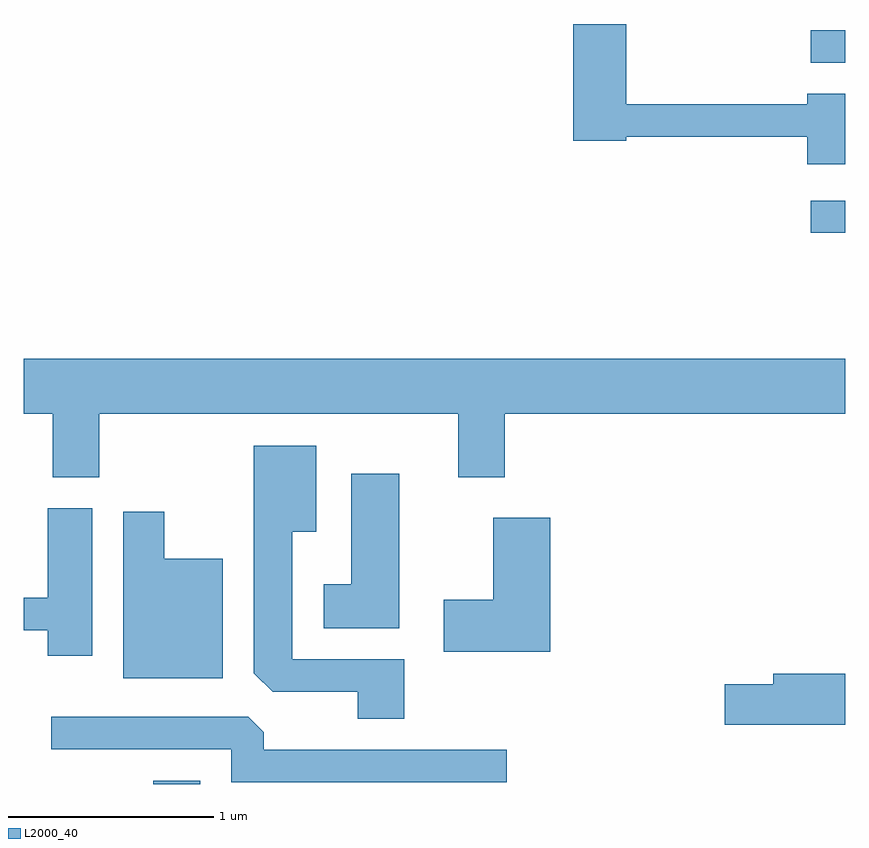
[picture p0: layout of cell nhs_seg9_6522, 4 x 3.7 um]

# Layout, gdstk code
import gdstk
lib = gdstk.Library(unit=1e-6, precision=1e-09)
def R(c, l, rs):  # rectangles x0, y0, x1, y1
    for r in rs: c.add(gdstk.rectangle(r[:2], r[2:], *l))
def P(c, l, *ps):  # polygons
    for p in ps: c.add(gdstk.Polygon(p, *l))
L2000_40 = (2000, 40)

nhs_seg9_6522 = lib.new_cell('nhs_seg9_6522')
R(nhs_seg9_6522, L2000_40, [(378.241,2014.432,378.469,2014.449), (381.443,2017.116,381.611,2017.274), (381.443,2017.946,381.611,2018.104)])
P(nhs_seg9_6522, L2000_40, [(381.611,2017.794),(381.426,2017.794),(381.426,2017.744),(380.544,2017.744),(380.544,2018.134),(380.286,2018.134),(380.286,2017.566),(380.544,2017.566),(380.544,2017.586),(381.426,2017.586),(381.426,2017.451),(381.611,2017.451)],
  [(377.611,2016.236),(377.751,2016.236),(377.751,2015.926),(377.979,2015.926),(377.979,2016.236),(379.726,2016.236),(379.726,2015.926),(379.954,2015.926),(379.954,2016.236),(381.611,2016.236),(381.611,2016.504),(377.611,2016.504)],
  [(379.464,2015.039),(378.919,2015.039),(378.919,2015.661),(379.034,2015.661),(379.034,2016.079),(378.731,2016.079),(378.731,2014.972),(378.822,2014.881),(379.236,2014.881),(379.236,2014.751),(379.464,2014.751)],
  [(379.439,2015.944),(379.206,2015.944),(379.206,2015.404),(379.071,2015.404),(379.071,2015.191),(379.439,2015.191)],
  [(377.944,2015.774),(377.726,2015.774),(377.726,2015.339),(377.611,2015.339),(377.611,2015.181),(377.726,2015.181),(377.726,2015.056),(377.944,2015.056)],
  [(378.579,2015.529),(378.294,2015.529),(378.294,2015.759),(378.096,2015.759),(378.096,2014.946),(378.579,2014.946)],
  [(380.174,2015.729),(379.896,2015.729),(379.896,2015.329),(379.656,2015.329),(379.656,2015.076),(380.174,2015.076)],
  [(381.611,2014.969),(381.261,2014.969),(381.261,2014.919),(381.026,2014.919),(381.026,2014.721),(381.611,2014.721)],
  [(379.963,2014.599),(378.779,2014.599),(378.779,2014.684),(378.704,2014.759),(377.743,2014.759),(377.743,2014.601),(378.621,2014.601),(378.621,2014.441),(379.963,2014.441)])

lib.write_gds('nhs_seg9_6522.gds')
